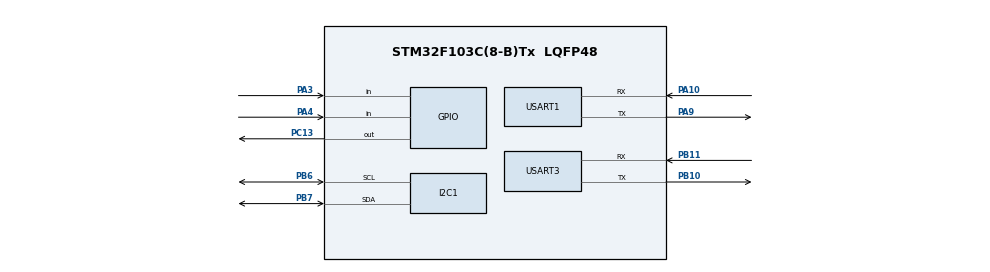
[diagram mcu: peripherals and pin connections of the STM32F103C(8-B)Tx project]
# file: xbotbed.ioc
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Mcu.Family=STM32F1
Mcu.Name=STM32F103C(8-B)Tx
Mcu.Package=LQFP48
NVIC.PriorityGroup=NVIC_PRIORITYGROUP_4
NVIC.TIM3_IRQn=true\:0\:0\:false\:false\:true\:true\:true\:true
PA10.Mode=Asynchronous
PA10.Signal=USART1_RX
PA3.GPIO_PuPd=GPIO_PULLDOWN
PA3.Signal=GPIO_Input
PA4.GPIO_PuPd=GPIO_PULLDOWN
PA4.Signal=GPIO_Input
PA9.Mode=Asynchronous
PA9.Signal=USART1_TX
PB10.Mode=Asynchronous
PB10.Signal=USART3_TX
PB11.Mode=Asynchronous
PB11.Signal=USART3_RX
PB6.Mode=I2C
PB6.Signal=I2C1_SCL
PB7.Mode=I2C
PB7.Signal=I2C1_SDA
PC13-TAMPER-RTC.Signal=GPIO_Output
ProjectManager.HeapSize=0x200
ProjectManager.StackSize=0x400
ProjectManager.TargetToolchain=MDK-ARM V5.32
RCC.APB1Freq_Value=8000000
RCC.APB2Freq_Value=8000000
TIM3.AutoReloadPreload=TIM_AUTORELOAD_PRELOAD_ENABLE
TIM3.Prescaler=80
USART1.VirtualMode=VM_ASYNC
USART3.VirtualMode=VM_ASYNC
VP_SYS_VS_ND.Mode=No_Debug
VP_TIM3_VS_ClockSourceINT.Mode=Internal
board=custom

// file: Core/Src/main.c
/* USER CODE BEGIN Header */
/**
  ******************************************************************************
  * @file           : main.c
  * @brief          : Main program body
  ******************************************************************************
  * @attention
  *
  * Copyright (c) 2022 STMicroelectronics.
  * All rights reserved.
  *
  * This software is licensed under terms that can be found in the LICENSE file
  * in the root directory of this software component.
  * If no LICENSE file comes with this software, it is provided AS-IS.
  *
  ******************************************************************************
  */
/* USER CODE END Header */
#include "main.h"

/* USER CODE BEGIN Includes */
#include <stdio.h>
/* USER CODE END Includes */

I2C_HandleTypeDef hi2c1;

TIM_HandleTypeDef htim3;

UART_HandleTypeDef huart1;
UART_HandleTypeDef huart3;

/* USER CODE BEGIN PV */
uint16_t time = 0;

/* USER CODE END PV */

void SystemClock_Config(void);
static void MX_GPIO_Init(void);
static void MX_USART1_UART_Init(void);
static void MX_I2C1_Init(void);
static void MX_USART3_UART_Init(void);
static void MX_TIM3_Init(void);

/* USER CODE BEGIN 0 */
void Usart_SendString(uint8_t *str)
{
	unsigned int k=0;
  do
  {
      HAL_UART_Transmit(&huart1,(uint8_t *)(str + k) ,1,1000);
      k++;
  } while(*(str + k)!='\0');

}

void HAL_TIM_PeriodElapsedCallback(TIM_HandleTypeDef *htim)
{
	time++;
}
/* USER CODE END 0 */

int main(void)
{

  /* MCU Configuration--------------------------------------------------------*/

  /* Reset of all peripherals, Initializes the Flash interface and the Systick. */
  HAL_Init();

  /* Configure the system clock */
  SystemClock_Config();

  /* Initialize all configured peripherals */
  MX_GPIO_Init();
  MX_USART1_UART_Init();
  MX_I2C1_Init();
  MX_USART3_UART_Init();
  MX_TIM3_Init();
  /* USER CODE BEGIN 2 */
  HAL_TIM_Base_Start_IT(&htim3);
  /* USER CODE END 2 */

  /* Infinite loop */
  /* USER CODE BEGIN WHILE */
	int key_1 = 0;
	int key_2 = 0;
  while (1)
  {
    /* USER CODE END WHILE */

    /* USER CODE BEGIN 3 */
		HAL_GPIO_TogglePin(GPIOC,GPIO_PIN_13);
		HAL_Delay(1000);
		key_1 = HAL_GPIO_ReadPin(GPIOA,GPIO_PIN_3);
		key_2 = HAL_GPIO_ReadPin(GPIOA,GPIO_PIN_4);
		char buf[128] = { 0 };
		if(key_1 == 1 && key_2 == 0){
			if(time == 10){
				sprintf(buf,"start sleep left \n");
				Usart_SendString( (uint8_t *)buf );
				HAL_Delay(1000);
			}
		}else if(key_2 == 1 && key_1 == 0){
			if(time == 10){
				sprintf(buf,"start sleep right \n");
				Usart_SendString( (uint8_t *)buf );
				HAL_Delay(1000);
			}
		}
		else if(key_1 == 0 && key_2 == 0){
			if(time > 20){
				sprintf(buf,"Sleep ok total time:%d \n",time);
				Usart_SendString( (uint8_t *)buf );
				time = 0;
			}
			else{
				time = 0;
				//sprintf(buf,"standby \n");
			}
		}
		//sprintf(buf,"The value of key1:%d key2:%d \n",key_1,key_2);

  }
  /* USER CODE END 3 */
}

void SystemClock_Config(void)
{
  RCC_OscInitTypeDef RCC_OscInitStruct = {0};
  RCC_ClkInitTypeDef RCC_ClkInitStruct = {0};

  /** Initializes the RCC Oscillators according to the specified parameters
  * in the RCC_OscInitTypeDef structure.
  */
  RCC_OscInitStruct.OscillatorType = RCC_OSCILLATORTYPE_HSI;
  RCC_OscInitStruct.HSIState = RCC_HSI_ON;
  RCC_OscInitStruct.HSICalibrationValue = RCC_HSICALIBRATION_DEFAULT;
  RCC_OscInitStruct.PLL.PLLState = RCC_PLL_NONE;
  if (HAL_RCC_OscConfig(&RCC_OscInitStruct) != HAL_OK)
  {
    Error_Handler();
  }

  /** Initializes the CPU, AHB and APB buses clocks
  */
  RCC_ClkInitStruct.ClockType = RCC_CLOCKTYPE_HCLK|RCC_CLOCKTYPE_SYSCLK
                              |RCC_CLOCKTYPE_PCLK1|RCC_CLOCKTYPE_PCLK2;
  RCC_ClkInitStruct.SYSCLKSource = RCC_SYSCLKSOURCE_HSI;
  RCC_ClkInitStruct.AHBCLKDivider = RCC_SYSCLK_DIV1;
  RCC_ClkInitStruct.APB1CLKDivider = RCC_HCLK_DIV1;
  RCC_ClkInitStruct.APB2CLKDivider = RCC_HCLK_DIV1;

  if (HAL_RCC_ClockConfig(&RCC_ClkInitStruct, FLASH_LATENCY_0) != HAL_OK)
  {
    Error_Handler();
  }
}

static void MX_I2C1_Init(void)
{

  hi2c1.Instance = I2C1;
  hi2c1.Init.ClockSpeed = 100000;
  hi2c1.Init.DutyCycle = I2C_DUTYCYCLE_2;
  hi2c1.Init.OwnAddress1 = 0;
  hi2c1.Init.AddressingMode = I2C_ADDRESSINGMODE_7BIT;
  hi2c1.Init.DualAddressMode = I2C_DUALADDRESS_DISABLE;
  hi2c1.Init.OwnAddress2 = 0;
  hi2c1.Init.GeneralCallMode = I2C_GENERALCALL_DISABLE;
  hi2c1.Init.NoStretchMode = I2C_NOSTRETCH_DISABLE;
  if (HAL_I2C_Init(&hi2c1) != HAL_OK)
  {
    Error_Handler();
  }

}

static void MX_TIM3_Init(void)
{

  TIM_ClockConfigTypeDef sClockSourceConfig = {0};
  TIM_MasterConfigTypeDef sMasterConfig = {0};

  htim3.Instance = TIM3;
  htim3.Init.Prescaler = 130;
  htim3.Init.CounterMode = TIM_COUNTERMODE_UP;
  htim3.Init.Period = 65535;
  htim3.Init.ClockDivision = TIM_CLOCKDIVISION_DIV1;
  htim3.Init.AutoReloadPreload = TIM_AUTORELOAD_PRELOAD_ENABLE;
  if (HAL_TIM_Base_Init(&htim3) != HAL_OK)
  {
    Error_Handler();
  }
  sClockSourceConfig.ClockSource = TIM_CLOCKSOURCE_INTERNAL;
  if (HAL_TIM_ConfigClockSource(&htim3, &sClockSourceConfig) != HAL_OK)
  {
    Error_Handler();
  }
  sMasterConfig.MasterOutputTrigger = TIM_TRGO_RESET;
  sMasterConfig.MasterSlaveMode = TIM_MASTERSLAVEMODE_DISABLE;
  if (HAL_TIMEx_MasterConfigSynchronization(&htim3, &sMasterConfig) != HAL_OK)
  {
    Error_Handler();
  }

}

static void MX_USART1_UART_Init(void)
{

  huart1.Instance = USART1;
  huart1.Init.BaudRate = 9600;
  huart1.Init.WordLength = UART_WORDLENGTH_8B;
  huart1.Init.StopBits = UART_STOPBITS_1;
  huart1.Init.Parity = UART_PARITY_NONE;
  huart1.Init.Mode = UART_MODE_TX_RX;
  huart1.Init.HwFlowCtl = UART_HWCONTROL_NONE;
  huart1.Init.OverSampling = UART_OVERSAMPLING_16;
  if (HAL_UART_Init(&huart1) != HAL_OK)
  {
    Error_Handler();
  }

}

static void MX_USART3_UART_Init(void)
{

  huart3.Instance = USART3;
  huart3.Init.BaudRate = 115200;
  huart3.Init.WordLength = UART_WORDLENGTH_8B;
  huart3.Init.StopBits = UART_STOPBITS_1;
  huart3.Init.Parity = UART_PARITY_NONE;
  huart3.Init.Mode = UART_MODE_TX_RX;
  huart3.Init.HwFlowCtl = UART_HWCONTROL_NONE;
  huart3.Init.OverSampling = UART_OVERSAMPLING_16;
  if (HAL_UART_Init(&huart3) != HAL_OK)
  {
    Error_Handler();
  }

}

static void MX_GPIO_Init(void)
{
  GPIO_InitTypeDef GPIO_InitStruct = {0};

  /* GPIO Ports Clock Enable */
  __HAL_RCC_GPIOC_CLK_ENABLE();
  __HAL_RCC_GPIOA_CLK_ENABLE();
  __HAL_RCC_GPIOB_CLK_ENABLE();

  /*Configure GPIO pin Output Level */
  HAL_GPIO_WritePin(GPIOC, GPIO_PIN_13, GPIO_PIN_RESET);

  /*Configure GPIO pin : PC13 */
  GPIO_InitStruct.Pin = GPIO_PIN_13;
  GPIO_InitStruct.Mode = GPIO_MODE_OUTPUT_PP;
  GPIO_InitStruct.Pull = GPIO_NOPULL;
  GPIO_InitStruct.Speed = GPIO_SPEED_FREQ_LOW;
  HAL_GPIO_Init(GPIOC, &GPIO_InitStruct);

  /*Configure GPIO pins : PA3 PA4 */
  GPIO_InitStruct.Pin = GPIO_PIN_3|GPIO_PIN_4;
  GPIO_InitStruct.Mode = GPIO_MODE_INPUT;
  GPIO_InitStruct.Pull = GPIO_PULLDOWN;
  HAL_GPIO_Init(GPIOA, &GPIO_InitStruct);

}

void Error_Handler(void)
{
  __disable_irq();
  while (1)
  {
  }
}
